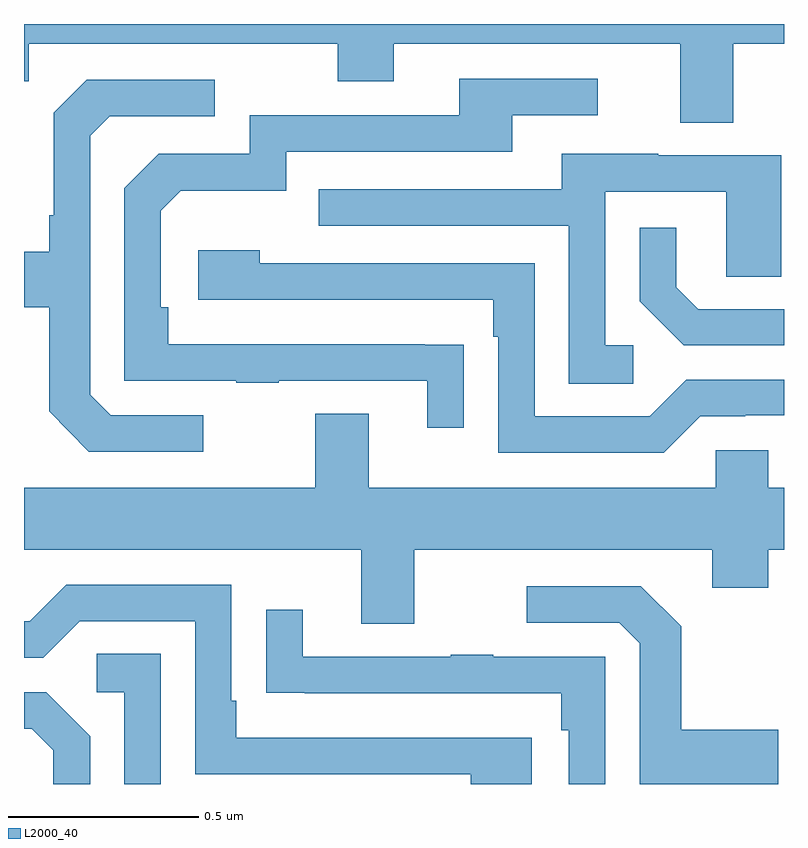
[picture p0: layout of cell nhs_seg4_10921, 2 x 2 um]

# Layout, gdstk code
import gdstk
lib = gdstk.Library(unit=1e-6, precision=1e-09)
def P(c, l, *ps):  # polygons
    for p in ps: c.add(gdstk.Polygon(p, *l))
L2000_40 = (2000, 40)

nhs_seg4_10921 = lib.new_cell('nhs_seg4_10921')
P(nhs_seg4_10921, L2000_40, [(247.867,768.848),(248,768.848),(248,768.9),(246,768.9),(246,768.749),(246.012,768.749),(246.012,768.848),(246.826,768.848),(246.826,768.749),(246.973,768.749),(246.973,768.848),(247.727,768.848),(247.727,768.64),(247.867,768.64)],
  [(247.157,768.056),(247.055,768.056),(247.055,768.057),(246.38,768.057),(246.38,768.154),(246.36,768.154),(246.36,768.408),(246.413,768.461),(246.69,768.461),(246.69,768.564),(247.285,768.564),(247.285,768.66),(247.51,768.66),(247.51,768.756),(247.145,768.756),(247.145,768.66),(246.594,768.66),(246.594,768.558),(246.354,768.558),(246.264,768.468),(246.264,767.961),(246.559,767.961),(246.559,767.956),(246.671,767.956),(246.671,767.961),(247.061,767.961),(247.061,767.838),(247.157,767.838)],
  [(246.472,767.871),(246.228,767.871),(246.174,767.925),(246.174,768.606),(246.225,768.657),(246.502,768.657),(246.502,768.753),(246.165,768.753),(246.078,768.666),(246.078,768.397),(246.066,768.397),(246.066,768.301),(246,768.301),(246,768.154),(246.066,768.154),(246.066,767.881),(246.171,767.775),(246.472,767.775)],
  [(247.603,768.054),(247.53,768.054),(247.53,768.459),(247.848,768.459),(247.848,768.235),(247.993,768.235),(247.993,768.555),(247.669,768.555),(247.669,768.559),(247.415,768.559),(247.415,768.465),(246.775,768.465),(246.775,768.369),(247.434,768.369),(247.434,767.953),(247.603,767.953)],
  [(248,768.15),(247.774,768.15),(247.717,768.207),(247.717,768.364),(247.62,768.364),(247.62,768.17),(247.736,768.054),(248,768.054)],
  [(247.779,767.868),(247.898,767.868),(247.898,767.871),(248,767.871),(248,767.964),(247.743,767.964),(247.647,767.868),(247.344,767.868),(247.344,768.27),(246.62,768.27),(246.62,768.304),(246.459,768.304),(246.459,768.174),(247.235,768.174),(247.235,768.077),(247.248,768.077),(247.248,767.772),(247.683,767.772)],
  [(247.027,767.516),(247.811,767.516),(247.811,767.417),(247.959,767.417),(247.959,767.516),(248,767.516),(248,767.68),(247.959,767.68),(247.959,767.778),(247.821,767.778),(247.821,767.68),(246.907,767.68),(246.907,767.875),(246.767,767.875),(246.767,767.68),(246,767.68),(246,767.516),(246.887,767.516),(246.887,767.322),(247.027,767.322)],
  [(247.336,767.022),(246.559,767.022),(246.559,767.119),(246.546,767.119),(246.546,767.424),(246.111,767.424),(246.015,767.328),(246,767.328),(246,767.232),(246.051,767.232),(246.147,767.328),(246.45,767.328),(246.45,766.926),(247.175,766.926),(247.175,766.9),(247.336,766.9)],
  [(247.985,767.043),(247.729,767.043),(247.729,767.315),(247.623,767.421),(247.323,767.421),(247.323,767.325),(247.566,767.325),(247.62,767.271),(247.62,766.9),(247.985,766.9)],
  [(247.53,767.235),(247.235,767.235),(247.235,767.24),(247.123,767.24),(247.123,767.235),(246.733,767.235),(246.733,767.359),(246.637,767.359),(246.637,767.14),(246.739,767.14),(246.739,767.139),(247.414,767.139),(247.414,767.042),(247.434,767.042),(247.434,766.9),(247.53,766.9)],
  [(246.36,767.243),(246.192,767.243),(246.192,767.142),(246.264,767.142),(246.264,766.9),(246.36,766.9)],
  [(246.174,767.026),(246.058,767.142),(246,767.142),(246,767.046),(246.02,767.046),(246.077,766.989),(246.077,766.9),(246.174,766.9)])

lib.write_gds('nhs_seg4_10921.gds')
